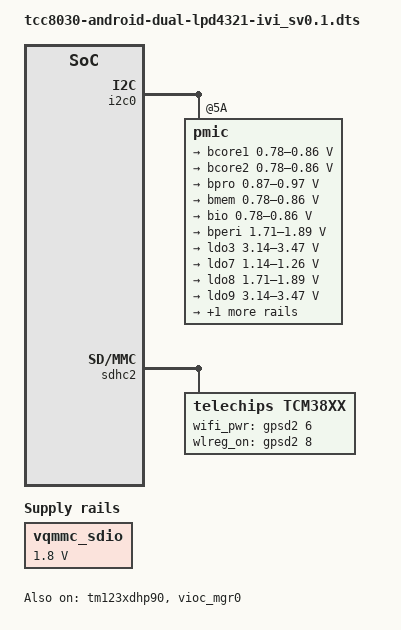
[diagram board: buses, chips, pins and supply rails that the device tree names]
// SPDX-License-Identifier: (GPL-2.0+ OR MIT)
/*
 * Device tree for Telechips TCC8030 Dual Chip Solution - IVI Side
 *
 * Copyright (C) 2018 Telechips Inc. 
 */

#ifndef DT_OVERLAY
/dts-v1/;
#endif

#include "tcc8031-android-avn.dtsi"

&i2c0 {
	pmic@5A {
		regulators {
			bcore1 {
				regulator-min-microvolt = <780000>;
				regulator-max-microvolt = <860000>;
			};
			bcore2 {
				regulator-min-microvolt = <780000>;
				regulator-max-microvolt = <860000>;
			};
			bpro {
				regulator-min-microvolt = <870000>;
				regulator-max-microvolt = <970000>;
			};
			bmem {
				regulator-min-microvolt = <780000>;
				regulator-max-microvolt = <860000>;
			};
			bio {
				regulator-min-microvolt = <780000>;
				regulator-max-microvolt = <860000>;
			};
			bperi {
				regulator-min-microvolt = <1710000>;
				regulator-max-microvolt = <1890000>;
			};
			ldo3 {
				regulator-min-microvolt = <3140000>;
				regulator-max-microvolt = <3470000>;
			};
			ldo7 {
				regulator-min-microvolt = <1140000>;
				regulator-max-microvolt = <1260000>;
			};
			ldo8 {
				regulator-min-microvolt = <1710000>;
				regulator-max-microvolt = <1890000>;
			};
			ldo9 {
				regulator-min-microvolt = <3140000>;
				regulator-max-microvolt = <3470000>;
			};
			ldo11 {
				regulator-min-microvolt = <3140000>;
				regulator-max-microvolt = <3470000>;
			};
		};
	};
};

&tm123xdhp90 {
	compatible = "telechips,lvds-tm123xdhp90";
	status = "okay";
	lvds0 = <&lvds_phy>;
	power-on-gpios = <&gpb 17>;		// LCD_ON
	reset-gpios = <&gpb 18 0>;		// LCD_RST
	/*
	display-on-gpios = ;		// LCD_DISP
	lvds-stby-gpios = ;		// LCD_DE = LVDS_STBY in LVDS
	lvds-power-gpios = ;		// LVDS_EN
	lvds-power-gpios1 = ;		// V_5V0_EN
	*/
	mode = <1>;		/* 0: single 1: dual */
	ports = <2 3 4>;
};

&gpu1 {
	status = "disabled";
};

&vioc_mgr0 {
	status = "okay";
};

/* SDIO */
&vqmmc_sdio {
	compatible = "regulator-fixed";
	regulator-name = "vqmmc_sdio";
	regulator-min-microvolt = <1800000>;
	regulator-max-microvolt = <1800000>;
	regulator-always-on;
};


&sdhc2 {
	compatible = "telechips,tcc-sdhci";
	controller-id = <2>;
	//non-removable;
	keep-power-in-suspend;
	cap-sdio-irq;

	max-frequency = <200000000>;
	//max-frequency = <10000000>;

	vqmmc-supply = <&vqmmc_sdio>;

	cd-force-presence-change;

	tcm38xx {
		compatible = "telechips,tcm38xx";
		wifi_pwr-gpio = <&gpsd2 6 0>; /* BT_WIFI_VBAT_EN */
		wlreg_on-gpio = <&gpsd2 8 0>; /* WIFI_REG_ON */
		//wifi_pwr_1p8v-gpio = <&gpsd1 6 0>;
		//wifi_pwr_3p3v-gpio = <&gpsd1 7 0>;
	};
};

&tcc_timer {
	/* Timer 0 is used for WIFI LPO */
	tcc-timer-reserved = <0>;
};

&auth_cp {
	i2c-channel = <1>;
};
